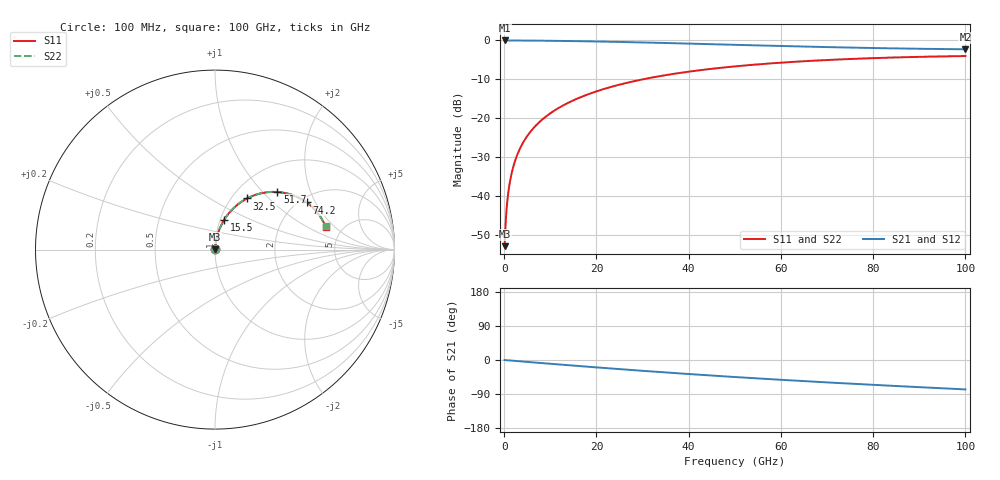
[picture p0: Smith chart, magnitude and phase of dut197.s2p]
! Touchstone file exported from HFSS 2026.1.0
!  File:  C:/ffzhzh/LocalFiles/Ansys_Project_Files/temp_train_RDL_197_1783500629_41296.aedt
!  Generated:  04:51:35 PM Jul  8, 2026
!  Design:  RDL
!  Project:  temp_train_RDL_197_1783500629_41296
! Variables:
!  h_bsmrdl = 2um
!  h_ox = 20um
!  h_rdl = 5um
!  h_sub = 80um
!  h_tmrdl = 3.61um
!  h_tsv = 80um
!  h_via = 3um
!  l_bsmrdl = 300um
!  l_sub = 636.17um
!  l_tmrdl = 236.17um
!  m_sub = 200um
!  pitch = 40.48um
!  r_tsv = 6um
!  s_tmrdl = 10um
!  w_bsmrdl = 18um
!  w_sub = 500um
!  w_tmrdl = 13.35um
!  x_tsv_center1 = 242.845um
!  x_tsv_center2 = 560.845um
!  x_tsv_center3 = 810.365um
!  x_tsv_center4 = 1128.365um
!  x_tsv_center5 = 1377.885um
!  x_tsv_center6 = 1695.885um
# GHz S MA R 50.000000
! Terminal data exported
! Port[1] = TM_RDL1_1_T1
! Port[2] = TM_RDL1_1_T2
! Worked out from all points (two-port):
!   1000 points, 100 MHz to 100 GHz, reference 50 ohm
!   highest |S21| = -0.02 dB at 100 MHz (marker M1); lowest = -2.3 dB at 100 GHz (marker M2)
!   |S21| within 3 dB of the highest: start of sweep to end of sweep
!   lowest |S11| = -52.9 dB at 100 MHz (marker M3), VSWR 1.00, Z = 50.2 + j0.125 ohm
!   |S11| at or under -10 dB: start of sweep to 30.14 GHz
!   |S22| runs from -52.9 to -4.0 dB; largest |S21 - S12| = 5.5e-15
!   S11 on the Smith chart (normalised r, x): 100 MHz: 1.00, +0.00; 15.5 GHz: 1.05, +0.36; 32.5 GHz: 1.17, +0.75; 51.7 GHz: 1.47, +1.21; 74.2 GHz: 2.17, +1.70; 100 GHz: 3.69, +1.56
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0.1  0.002254 33.7  0.9981 -0.1  0.9981 -0.1  0.002254 33.7
! Gamma 0 0 0 0
! Port Impedance 50 0 50 0
0.4  0.00531 67.4  0.998 -0.4  0.998 -0.4  0.00531 67.4
0.7  0.008731 75.3  0.9979 -0.7  0.9979 -0.7  0.008731 75.3
0.9  0.01104 77.8  0.9978 -0.9  0.9978 -0.9  0.01104 77.8
1.4  0.01686 80.9  0.9976 -1.4  0.9976 -1.4  0.01686 80.9
1.9  0.02271 82.2  0.9974 -1.9  0.9974 -1.9  0.02271 82.2
2.4  0.02857 82.7  0.9972 -2.4  0.9972 -2.4  0.02857 82.7
3.8  0.04493 82.6  0.9962 -3.8  0.9962 -3.8  0.04493 82.6
5.8  0.06803 81.3  0.9944 -5.8  0.9944 -5.8  0.06803 81.4
8.3  0.09637 79.2  0.9913 -8.3  0.9913 -8.3  0.09637 79.3
11.5  0.1318 76.4  0.9863 -11.4  0.9863 -11.4  0.1318 76.4
15.5  0.1746 72.8  0.9787 -15.3  0.9787 -15.3  0.1746 72.8
16.8  0.1882 71.6  0.976 -16.5  0.976 -16.5  0.1882 71.6
23.8  0.2581 65.4  0.9589 -23.0  0.9589 -23.0  0.2581 65.4
32.5  0.3365 57.9  0.9336 -30.7  0.9336 -30.7  0.3365 58.0
33.4  0.344 57.1  0.9308 -31.5  0.9308 -31.5  0.344 57.2
50.1  0.4635 43.9  0.8771 -45.0  0.8771 -45.0  0.4636 44.0
51.7  0.473 42.7  0.8721 -46.2  0.8721 -46.2  0.473 42.8
66.7  0.5466 32.2  0.8283 -56.9  0.8283 -56.9  0.5466 32.3
74.2  0.5739 27.3  0.8099 -61.8  0.8099 -61.8  0.574 27.4
83.4  0.6001 21.5  0.791 -67.7  0.791 -67.7  0.6001 21.7
100  0.6291 11.7  0.7684 -77.6  0.7684 -77.6  0.6292 11.8
